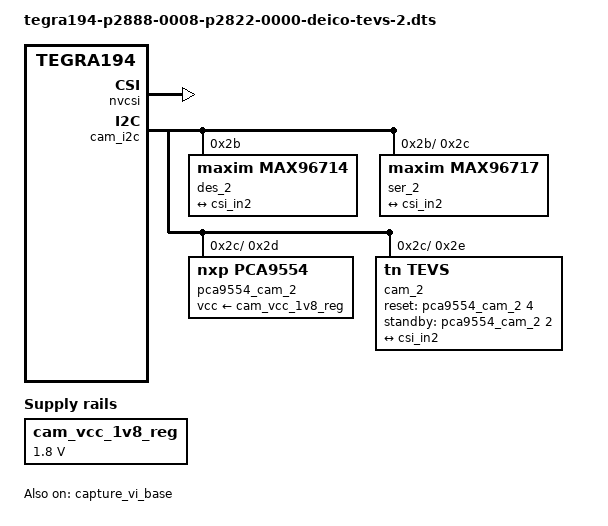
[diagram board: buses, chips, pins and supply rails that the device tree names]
// File: tegra194-p2888-0008-p2822-0000-deico-tevs-quad.dts

/dts-v1/;

#include "tegra194-p2888-0008-p2822-0000.dts"

#define CAM_LANES 			4          // number of CSI lanes used by each camera
#define CAM_LANES_STRING 	"4"
#define GMSL_CAM_NUM 		1	       // equals to number of cameras can be connected to your board
#define TOTAL_CSI_LANES 	(GMSL_CAM_NUM * CAM_LANES)
#define DES_LINK_FREQ 		1000000000 // min: 100000000, max: 1250000000, currently: 1GHz
#define CSI_FREQ 			500        // min: 100, max: 1200

/ {
	/*
	 * This is a new, virtual regulator definition that describes the
	 * discrete, always-on 1.8V power supply for our camera components.
	 * It does not control any hardware, it just provides a valid
	 * handle for drivers that require a power supply dependency.
	 */
	fixed-regulators {

		cam_vcc_1v8_reg: fixed-regulator-cam-1v8 {
			compatible = "regulator-fixed";
			regulator-name = "fixed-1.8v-cam-power";
			regulator-min-microvolt = <1800000>;
			regulator-max-microvolt = <1800000>;
			regulator-always-on;
		};
	};
};


&capture_vi_base { // /tegra-capture-vi
	status = "okay";
	num-channels = <4>;

	ports {
		#address-cells = <1>;
		#size-cells = <0>;

		port@2 {
			status = "okay";
			
			endpoint {	// vi_in2
				port-index = <4>;
				bus-width = <CAM_LANES>;
				remote-endpoint = <&csi_out2>;
				vc-id = <0x00>;
				status = "okay";
			};
		};
	};
};

&nvcsi { // /host1x@13e00000/nvcsi@15a00000
	status = "okay";
	num-channels = <4>;
	
	channel@2 {
		status = "okay";

		ports {

			port@0 { // Sink port
				status = "okay";

				endpoint@4 {	// csi_in2
					port-index = <4>;
					bus-width = <CAM_LANES>;
					remote-endpoint = <&rpi22_tevs_2_out>;
					status = "okay";
				};
			};

			port@1 { // Source port
				status = "okay";

				endpoint@5 {	//csi_out2
					remote-endpoint = <&vi_in2>;
					status = "okay";
				};
			};
		};
	};
};

&tcp { // /tegra-camera-platform
	num_csi_lanes = <TOTAL_CSI_LANES>;	// total number of CSI lanes used by all cameras (4x1)
	max_lane_speed = <4000000>;
	min_bits_per_pixel = <16>;			// only this is updated
	vi_peak_byte_per_pixel = <2>;
	vi_bw_margin_pct = <25>;
	//max_pixel_rate = <240000>;
	//isp_peak_byte_per_pixel = <5>;
	//isp_bw_margin_pct = <25>;

	modules {

		module2 {
			badge = "tevs_left";
			position = "left";
			//orientation = "1";
			status = "okay";

			drivernode0 {
				pcl_id = "v4l2_sensor";
				devname = "VLS-GM2-AR0234-Camera-3";
				proc-device-tree = "/proc/device-tree/i2c@3180000/gmsl-deserializer@2b/i2c@0/gmsl-serializer@2c/i2c@0/rpi22_tevs_2@2e";
				status = "okay";
			};
		};
	};
};

&cam_i2c { // /i2c@31800000
	status = "okay";

	des_2: gmsl-deserializer@0x2b {

		status = "okay";
		#address-cells = <1>;
		#size-cells = <0>;
		compatible = "maxim,max96714";
		reg = <0x2b>;
		phy-reg = <0x4c>; // deserializer power-on I2C address

		i2c-addr-alias-map-local = <0x2c>;		// virtual I2C addresses assigned to the serializer
		i2c-addr-alias-map-remote = <0x40>; 	// actual I2C address of the serializer
		i2c-addr-alias-source-id = <0>;

		gpio-controller;
		#gpio-cells = <2>;
		gpio-ranges = <&des_2 0 0 12>;

		pinctrl-names = "default";
		pinctrl-0 = <&des_2_pinmux_default>;

		// fsync-mode = "external";

		des_2_pinmux_default: pinmux {
			mfp0_fsync {
				pins = "mfp0";
				function = "gpio";
				maxim,gmsl-tx = <1>;
				maxim,gmsl-tx-id = <0>;
				input-enable;
			};
		};

		i2c-mux { 

			#address-cells = <1>;
			#size-cells = <0>;

			compatible = "i2c-mux-gpio";
			i2c-parent = <&cam_i2c>;

			des_2_i2c_0: i2c@0 {
				#address-cells = <1>;
				#size-cells = <0>;

				reg = <0>;
			};
		};

		phy@0 {
			reg = <0>;
		};

		pipe@0 {
			reg = <0>;

			maxim,phy-id = <0>;
		};

		channel@0 {
			reg = <0>;
			label = "des_2_ch_0";

			maxim,phy-id = <0>;

			clock-lanes = <0>;
			data-lanes = <1 2 3 4>;
			link-frequencies = /bits/ 64 <DES_LINK_FREQ>;
		};
	};
};

// SER2 -> CAM2 starts here
&des_2_i2c_0 {

	ser_2: gmsl-serializer@2c {
		status = "okay";
		#address-cells = <1>;
		#size-cells = <0>;
		compatible = "maxim,max96717";
		reg = <0x2c>;

		// i2c addr alias map "isp, gpio expander"
		i2c-addr-alias-map-local = <0x2e 0x2d>;	// virtual I2C addresses assigned to the devices
		i2c-addr-alias-map-remote = <0x48 0x25>;// actual I2C addresses of the devices

		gpio-controller;
		#gpio-cells = <2>;
		gpio-ranges = <&ser_2 0 0 11>;

		pinctrl-names = "default";
		pinctrl-0 = <&ser_2_pinmux_default>;

		ser_2_pinmux_default: pinmux {
			mfp0_fsync {
				pins = "mfp0";
				function = "gpio";
				maxim,gmsl-rx = <1>;
				maxim,gmsl-rx-id = <0>;
				output-enable;
				output-low;
			};
		};

		i2c-mux {
			#address-cells = <1>;
			#size-cells = <0>;

			compatible = "i2c-mux-gpio";
			i2c-parent = <&cam_i2c>;

			ser_2_i2c_0: i2c@0 {
				#address-cells = <1>;
				#size-cells = <0>;

				reg = <0>;
			};
		};

		pipe@0 {
			reg = <0>;

			maxim,stream-id = <0>;
		};

		channel@0 {
			reg = <0>;
			label = "ser_2_ch_0";

			clock-lanes = <0>;
			data-lanes = <1 2 3 4>;
			clock-noncontinuous;
		};
	};
};

&ser_2_i2c_0 {
	pca9554_cam_2: pca9554@2d {
		compatible = "nxp,pca9554";
		reg = <0x2d>;
		gpio-controller;
		#gpio-cells = <2>;
		gpio-line-names = "EXPOSURE_TRIG_IN",
						"FLASH_OUT",
						"INFO_TRIG_IN",
						"CAMA_SHUTTER",
						"CSI_P1_nRST",
						"PWR_TIME0",
						"PWR_TIME1",
						"3V3_EN";
		vcc-supply = <&cam_vcc_1v8_reg>;
		vcc_lp = "vcc";
		status = "okay";
	};

	cam_2: rpi22_tevs_2@2e {
		compatible = "tn,tevs";
		reg = <0x2e>;
		status = "okay";

		reset-gpios = <&pca9554_cam_2 4 GPIO_ACTIVE_HIGH>;
		standby-gpios = <&pca9554_cam_2 2 GPIO_ACTIVE_HIGH>;
		data-lanes = <CAM_LANES>;
		data-frequency = <CSI_FREQ>;

		/* V4L2 device node location */
		devnode = "video0";
		/* Physical dimensions of sensor */
		physical_w = "3.680";
		physical_h = "2.760";
		sensor_model = "tevs";
		use_sensor_mode_id = "false";

		mode0 {
			mclk_khz = "24000";
			num_lanes = CAM_LANES_STRING;
			tegra_sinterface = "serial_e";
			phy_mode = "DPHY";
			discontinuous_clk = "yes";
			dpcm_enable = "false";
			cil_settletime = "0";

			active_w = "3280";
			active_h = "2464";
			mode_type = "yuv";
			pixel_phase = "uyvy";
			csi_pixel_bit_depth = "16";
			readout_orientation = "90";
			line_length = "3448";
			inherent_gain = "1";
			mclk_multiplier = "9.33";
			pix_clk_hz = "200000000";
			serdes_pix_clk_hz = "500000000";

			gain_factor = "16";
			framerate_factor = "1000000";
			exposure_factor = "1000000";
			min_gain_val = "16"; /* 1.00x */
			max_gain_val = "170"; /* 10.66x */
			step_gain_val = "1";
			default_gain = "16"; /* 1.00x */
			min_hdr_ratio = "1";
			max_hdr_ratio = "1";
			min_framerate = "2000000"; /* 2.0 fps */
			max_framerate = "21000000"; /* 21.0 fps */
			step_framerate = "1";
			default_framerate = "21000000"; /* 21.0 fps */
			min_exp_time = "13"; /* us */
			max_exp_time = "683709"; /* us */
			step_exp_time = "1";
			default_exp_time = "2495"; /* us */
			embedded_metadata_height = "0";
		};
		mode1 {
			mclk_khz = "24000";
			num_lanes = CAM_LANES_STRING;
			tegra_sinterface = "serial_e";
			phy_mode = "DPHY";
			discontinuous_clk = "yes";
			dpcm_enable = "false";
			cil_settletime = "0";

			active_w = "3280";
			active_h = "1848";
			mode_type = "yuv";
			pixel_phase = "uyvy";
			csi_pixel_bit_depth = "16";
			readout_orientation = "90";
			line_length = "3448";
			inherent_gain = "1";
			mclk_multiplier = "9.33";
			pix_clk_hz = "200000000";
			serdes_pix_clk_hz = "500000000";

			gain_factor = "16";
			framerate_factor = "1000000";
			exposure_factor = "1000000";
			min_gain_val = "16"; /* 1.00x */
			max_gain_val = "170"; /* 10.66x */
			step_gain_val = "1";
			default_gain = "16"; /* 1.00x */
			min_hdr_ratio = "1";
			max_hdr_ratio = "1";
			min_framerate = "2000000"; /* 2.0 fps */
			max_framerate = "28000000"; /* 28.0 fps */
			step_framerate = "1";
			default_framerate = "28000000"; /* 28.0 fps */
			min_exp_time = "13"; /* us */
			max_exp_time = "683709"; /* us */
			step_exp_time = "1";
			default_exp_time = "2495"; /* us */
			embedded_metadata_height = "0";
		};
		mode2 {
			mclk_khz = "24000";
			num_lanes = CAM_LANES_STRING;
			tegra_sinterface = "serial_e";
			phy_mode = "DPHY";
			discontinuous_clk = "yes";
			dpcm_enable = "false";
			cil_settletime = "0";

			active_w = "1920";
			active_h = "1080";
			mode_type = "yuv";
			pixel_phase = "uyvy";
			csi_pixel_bit_depth = "16";
			readout_orientation = "90";
			line_length = "3448";
			inherent_gain = "1";
			mclk_multiplier = "9.33";
			pix_clk_hz = "200000000";
			serdes_pix_clk_hz = "500000000";

			gain_factor = "16";
			framerate_factor = "1000000";
			exposure_factor = "1000000";
			min_gain_val = "16"; /* 1.00x */
			max_gain_val = "170"; /* 10.66x */
			step_gain_val = "1";
			default_gain = "16"; /* 1.00x */
			min_hdr_ratio = "1";
			max_hdr_ratio = "1";
			min_framerate = "2000000"; /* 2.0 fps */
			max_framerate = "30000000"; /* 30.0 fps */
			step_framerate = "1";
			default_framerate = "30000000"; /* 30.0 fps */
			min_exp_time = "13"; /* us */
			max_exp_time = "683709"; /* us */
			step_exp_time = "1";
			default_exp_time = "2495"; /* us */
			embedded_metadata_height = "0";
		};
		mode3 {
			mclk_khz = "24000";
			num_lanes = CAM_LANES_STRING;
			tegra_sinterface = "serial_e";
			phy_mode = "DPHY";
			discontinuous_clk = "yes";
			dpcm_enable = "false";
			cil_settletime = "0";

			active_w = "1640";
			active_h = "1232";
			mode_type = "yuv";
			pixel_phase = "uyvy";
			csi_pixel_bit_depth = "16";
			readout_orientation = "90";
			line_length = "3448";
			inherent_gain = "1";
			mclk_multiplier = "9.33";
			pix_clk_hz = "200000000";
			serdes_pix_clk_hz = "500000000";

			gain_factor = "16";
			framerate_factor = "1000000";
			exposure_factor = "1000000";
			min_gain_val = "16"; /* 1.00x */
			max_gain_val = "170"; /* 10.66x */
			step_gain_val = "1";
			default_gain = "16"; /* 1.00x */
			min_hdr_ratio = "1";
			max_hdr_ratio = "1";
			min_framerate = "2000000"; /* 2.0 fps */
			max_framerate = "30000000"; /* 60.0 fps */
			step_framerate = "1";
			default_framerate = "30000000"; /* 60.0 fps */
			min_exp_time = "13"; /* us */
			max_exp_time = "683709"; /* us */
			step_exp_time = "1";
			default_exp_time = "2495"; /* us */
			embedded_metadata_height = "0";
		};
		mode4 {
			mclk_khz = "24000";
			num_lanes = CAM_LANES_STRING;
			tegra_sinterface = "serial_e";
			phy_mode = "DPHY";
			discontinuous_clk = "yes";
			dpcm_enable = "false";
			cil_settletime = "0";

			active_w = "1280";
			active_h = "720";
			mode_type = "yuv";
			pixel_phase = "uyvy";
			csi_pixel_bit_depth = "16";
			readout_orientation = "90";
			line_length = "3448";
			inherent_gain = "1";
			mclk_multiplier = "9.33";
			pix_clk_hz = "200000000";
			serdes_pix_clk_hz = "500000000";

			gain_factor = "16";
			framerate_factor = "1000000";
			exposure_factor = "1000000";
			min_gain_val = "16"; /* 1.00x */
			max_gain_val = "170"; /* 10.66x */
			step_gain_val = "1";
			default_gain = "16"; /* 1.00x */
			min_hdr_ratio = "1";
			max_hdr_ratio = "1";
			min_framerate = "2000000"; /* 2.0 fps */
			max_framerate = "60000000"; /* 60.0 fps */
			step_framerate = "1";
			default_framerate = "60000000"; /* 60.0 fps */
			min_exp_time = "13"; /* us */
			max_exp_time = "683709"; /* us */
			step_exp_time = "1";
			default_exp_time = "2495"; /* us */
			embedded_metadata_height = "0";
		};
		mode5 {
			mclk_khz = "24000";
			num_lanes = CAM_LANES_STRING;
			tegra_sinterface = "serial_e";
			phy_mode = "DPHY";
			discontinuous_clk = "yes";
			dpcm_enable = "false";
			cil_settletime = "0";

			active_w = "640";
			active_h = "480";
			mode_type = "yuv";
			pixel_phase = "uyvy";
			csi_pixel_bit_depth = "16";
			readout_orientation = "90";
			line_length = "3448";
			inherent_gain = "1";
			mclk_multiplier = "9.33";
			pix_clk_hz = "200000000";
			serdes_pix_clk_hz = "500000000";

			gain_factor = "16";
			framerate_factor = "1000000";
			exposure_factor = "1000000";
			min_gain_val = "16"; /* 1.00x */
			max_gain_val = "170"; /* 10.66x */
			step_gain_val = "1";
			default_gain = "16"; /* 1.00x */
			min_hdr_ratio = "1";
			max_hdr_ratio = "1";
			min_framerate = "2000000"; /* 2.0 fps */
			max_framerate = "60000000"; /* 60.0 fps */
			step_framerate = "1";
			default_framerate = "60000000"; /* 60.0 fps */
			min_exp_time = "13"; /* us */
			max_exp_time = "683709"; /* us */
			step_exp_time = "1";
			default_exp_time = "2495"; /* us */
			embedded_metadata_height = "0";
		};
		ports {
			#address-cells = <1>;
			#size-cells = <0>;
			port@0 {
				reg = <0>;

				rpi22_tevs_2_out: endpoint {
					port-index = <4>;
					bus-width = <CAM_LANES>;
					remote-endpoint = <&csi_in2>;
				};
			};
		};
	};
};
// SER2 -> CAM2 ends here
